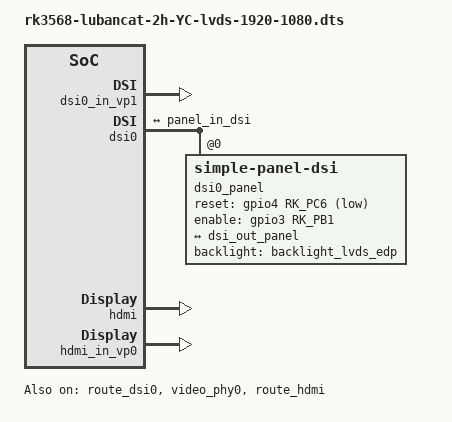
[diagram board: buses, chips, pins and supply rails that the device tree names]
/dts-v1/;
/plugin/;

#include <dt-bindings/gpio/gpio.h>
#include <dt-bindings/pinctrl/rockchip.h>
#include <dt-bindings/display/drm_mipi_dsi.h>
#include <dt-bindings/interrupt-controller/irq.h>

/ {

	fragment@0 {
		target = <&route_dsi0>;

		__overlay__ {
			status = "okay";
			connect = <&vp1_out_dsi0>;
		};
	};

	fragment@1 {
		target = <&video_phy0>;

		__overlay__ {
			status = "okay";
		};
	};

	fragment@2 {
		target = <&dsi0_in_vp0>;

		__overlay__ {
			status = "disabled";
		};
	};

	fragment@3 {
		target = <&dsi0_in_vp1>;

		__overlay__ {
			status = "okay";
		};
	};

	fragment@4 {
		target = <&dsi0>;

		__overlay__ {
			status = "okay";
			#address-cells = <1>;
			#size-cells = <0>;
    		rockchip,lane-rate = <958>;

			dsi0_panel: panel@0 {
				compatible = "simple-panel-dsi";
				reg = <0>;
				backlight = <&backlight_lvds_edp>;
				reset-gpios = <&gpio4 RK_PC6 GPIO_ACTIVE_LOW>;
				enable-gpios = <&gpio3 RK_PB1 GPIO_ACTIVE_HIGH>;
				
				enable-delay-ms = <35>;
				prepare-delay-ms = <6>;
				reset-delay-ms = <0>;
				init-delay-ms = <20>;
				unprepare-delay-ms = <0>;
				disable-delay-ms = <20>;

				size,width = <476>;
				size,height = <268>;

				dsi,flags = <(MIPI_DSI_MODE_VIDEO | MIPI_DSI_MODE_VIDEO_BURST | MIPI_DSI_MODE_LPM | MIPI_DSI_MODE_EOT_PACKET)>;
				dsi,format = <MIPI_DSI_FMT_RGB888>;
				dsi,lanes  = <4>;

                                panel-init-sequence = [
                                        23 00 02 27 AA
                                        23 00 02 48 02
                                        23 00 02 B6 20
										/* HACTIVE = 1920, VACTIVE = 1080 */
										23 00 02 01 80
										23 00 02 02 38
										23 00 02 03 47
										/* 水平时序 */
                                        23 00 02 04 40  /* HFP = 64 */
                                        23 00 02 05 20  /* HSW = 32 */
                                        23 00 02 06 A0  /* HBP = 160 */
                                        23 00 02 07 00
										/* 垂直时序 */
                                        23 00 02 08 04  /* VFP = 4 */
                                        23 00 02 09 04  /* VSW = 4 */
                                        23 00 02 0A 0C  /* VBP = 12 */
										/* PLL */
                                        23 00 02 0B 85
                                        23 00 02 0C 2A
                                        23 00 02 0D 01
                                        23 00 02 0E 80
                                        23 00 02 0F 20
                                        23 00 02 10 20
                                        23 00 02 11 03
                                        23 00 02 12 1B

										/* 双 LVDS：VESA 8-bit */
                                        23 00 02 13 63
                                        23 00 02 14 01
                                        23 00 02 15 23
                                        23 00 02 16 40
                                        23 00 02 17 00
                                        23 00 02 18 01
                                        23 00 02 19 23
                                        23 00 02 1A 40
                                        23 00 02 1B 00
                                        23 00 02 1E 46
                                        23 00 02 51 30
                                        23 00 02 1F 10
									 	/* Restore 0x01 for regular video. */
                                        23 00 02 2A 01
                                        //如下为SSR展频，不加可能点不亮
                                        23 00 02 6A 08
                                        23 00 02 6C 9E
                                        23 00 02 6D 07
                                        23 00 02 6E 00
                                        23 00 02 6F 8A
                                        23 00 02 70 19
                                        23 64 02 71 00
                                ];


                                disp_timings0: display-timings {
                                        native-mode = <&dsi0_timing0>;
                                        dsi0_timing0: timing0 {
                                                clock-frequency = <143616000>;
                                                hactive = <1920>;
                                                vactive = <1080>;

                                                hsync-len = <32>;
                                                hback-porch = <160>;
                                                hfront-porch = <64>;

                                                vsync-len = <4>;
                                                vback-porch = <12>;
                                                vfront-porch = <4>;

                                                hsync-active = <0>;
                                                vsync-active = <0>;
                                                de-active = <0>;
                                                pixelclk-active = <0>;
                                        };
                                };


				ports {
					#address-cells = <1>;
					#size-cells = <0>;
					port@0 {
						reg = <0>;
						panel_in_dsi: endpoint {
							remote-endpoint = <&dsi_out_panel>;
						};
					};
				};
			};

			ports {
				#address-cells = <1>;
				#size-cells = <0>;

				port@1 {
					reg = <1>;
					dsi_out_panel: endpoint {
						remote-endpoint = <&panel_in_dsi>;
					};
				};
			};
		};
	};

	/* 启用 HDMI 控制器 */
	fragment@5 {
		target = <&hdmi>;

		__overlay__ {
			status = "okay";
		};
	};

	/* HDMI 使用 VP0 */
	fragment@6 {
		target = <&hdmi_in_vp0>;

		__overlay__ {
			status = "okay";
		};
	};

	/* 禁用 HDMI 的 VP1 输入，VP1 留给 DSI0/LVDS */
	fragment@7 {
		target = <&hdmi_in_vp1>;

		__overlay__ {
			status = "disabled";
		};
	};

	/* 启用 HDMI 显示路由，并连接 VP0 */
	fragment@8 {
		target = <&route_hdmi>;

		__overlay__ {
			status = "okay";
			connect = <&vp0_out_hdmi>;
		};
	};

	
	fragment@9 {
		target = <&vop>;

		__overlay__ {
			rockchip,lvds-hdmi-mirror;
		};
	};
	
};
